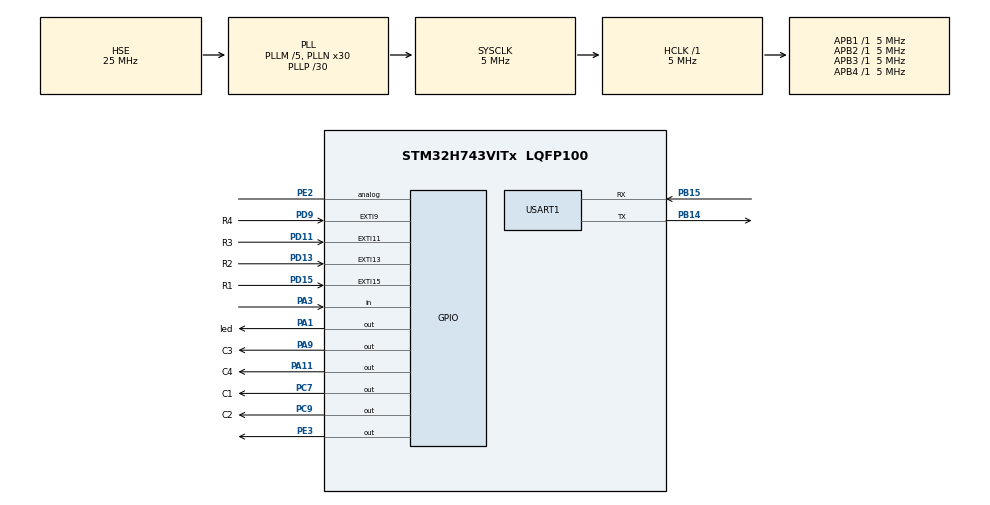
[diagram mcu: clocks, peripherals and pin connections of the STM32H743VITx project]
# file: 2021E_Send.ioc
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CORTEX_M7.AccessPermission-Cortex_Memory_Protection_Unit_Region0_Settings=MPU_REGION_FULL_ACCESS
CORTEX_M7.AccessPermission-Cortex_Memory_Protection_Unit_Region1_Settings=MPU_REGION_FULL_ACCESS
CORTEX_M7.AccessPermission-Cortex_Memory_Protection_Unit_Region2_Settings=MPU_REGION_FULL_ACCESS
CORTEX_M7.AccessPermission-Cortex_Memory_Protection_Unit_Region3_Settings=MPU_REGION_FULL_ACCESS
CORTEX_M7.AccessPermission-Cortex_Memory_Protection_Unit_Region4_Settings=MPU_REGION_FULL_ACCESS
CORTEX_M7.AccessPermission_S-Cortex_Memory_Protection_Unit_Region1_Settings_S=MPU_REGION_FULL_ACCESS
CORTEX_M7.AccessPermission_S-Cortex_Memory_Protection_Unit_Region2_Settings_S=MPU_REGION_FULL_ACCESS
CORTEX_M7.AccessPermission_Spec=MPU_REGION_FULL_ACCESS
CORTEX_M7.BaseAddress-Cortex_Memory_Protection_Unit_Region0_Settings=0x24000000
CORTEX_M7.BaseAddress-Cortex_Memory_Protection_Unit_Region1_Settings=0x30000000
CORTEX_M7.BaseAddress-Cortex_Memory_Protection_Unit_Region2_Settings=0x30020000
CORTEX_M7.BaseAddress-Cortex_Memory_Protection_Unit_Region3_Settings=0x30040000
CORTEX_M7.BaseAddress-Cortex_Memory_Protection_Unit_Region4_Settings=0x38000000
CORTEX_M7.BaseAddress_S-Cortex_Memory_Protection_Unit_Region1_Settings_S=0x30000000
CORTEX_M7.BaseAddress_S-Cortex_Memory_Protection_Unit_Region2_Settings_S=0x30020000
CORTEX_M7.BaseAddress_Spec=0x24000000
CORTEX_M7.CPU_DCache=Enabled
CORTEX_M7.CPU_ICache=Enabled
CORTEX_M7.DisableExec_S-Cortex_Memory_Protection_Unit_Region1_Settings_S=MPU_INSTRUCTION_ACCESS_ENABLE
CORTEX_M7.DisableExec_S-Cortex_Memory_Protection_Unit_Region2_Settings_S=MPU_INSTRUCTION_ACCESS_ENABLE
CORTEX_M7.DisableExec_Spec=MPU_INSTRUCTION_ACCESS_ENABLE
CORTEX_M7.Enable-Cortex_Memory_Protection_Unit_Region0_Settings=MPU_REGION_ENABLE
CORTEX_M7.Enable-Cortex_Memory_Protection_Unit_Region1_Settings=MPU_REGION_ENABLE
CORTEX_M7.Enable-Cortex_Memory_Protection_Unit_Region2_Settings=MPU_REGION_ENABLE
CORTEX_M7.Enable-Cortex_Memory_Protection_Unit_Region3_Settings=MPU_REGION_ENABLE
CORTEX_M7.Enable-Cortex_Memory_Protection_Unit_Region4_Settings=MPU_REGION_ENABLE
CORTEX_M7.Enable_S-Cortex_Memory_Protection_Unit_Region1_Settings_S=MPU_REGION_ENABLE
CORTEX_M7.Enable_S-Cortex_Memory_Protection_Unit_Region2_Settings_S=MPU_REGION_ENABLE
CORTEX_M7.IsBufferable-Cortex_Memory_Protection_Unit_Region0_Settings=MPU_ACCESS_BUFFERABLE
CORTEX_M7.IsBufferable_S-Cortex_Memory_Protection_Unit_Region1_Settings_S=MPU_ACCESS_NOT_BUFFERABLE
CORTEX_M7.IsBufferable_Spec=MPU_ACCESS_BUFFERABLE
CORTEX_M7.IsCacheable-Cortex_Memory_Protection_Unit_Region0_Settings=MPU_ACCESS_CACHEABLE
CORTEX_M7.IsCacheable_S-Cortex_Memory_Protection_Unit_Region1_Settings_S=MPU_ACCESS_NOT_CACHEABLE
CORTEX_M7.IsCacheable_Spec=MPU_ACCESS_CACHEABLE
CORTEX_M7.IsShareable_Spec=MPU_ACCESS_NOT_SHAREABLE
CORTEX_M7.MPU_Control=MPU_PRIVILEGED_DEFAULT
CORTEX_M7.Size-Cortex_Memory_Protection_Unit_Region0_Settings=MPU_REGION_SIZE_512KB
CORTEX_M7.Size-Cortex_Memory_Protection_Unit_Region1_Settings=MPU_REGION_SIZE_128KB
CORTEX_M7.Size-Cortex_Memory_Protection_Unit_Region2_Settings=MPU_REGION_SIZE_128KB
CORTEX_M7.Size-Cortex_Memory_Protection_Unit_Region3_Settings=MPU_REGION_SIZE_32KB
CORTEX_M7.Size-Cortex_Memory_Protection_Unit_Region4_Settings=MPU_REGION_SIZE_64KB
CORTEX_M7.Size_S-Cortex_Memory_Protection_Unit_Region1_Settings_S=MPU_REGION_SIZE_128KB
CORTEX_M7.Size_S-Cortex_Memory_Protection_Unit_Region2_Settings_S=MPU_REGION_SIZE_128KB
CORTEX_M7.Size_Spec=MPU_REGION_SIZE_512KB
CORTEX_M7.SubRegionDisable_Spec=0x0
CORTEX_M7.TypeExtField-Cortex_Memory_Protection_Unit_Region0_Settings=MPU_TEX_LEVEL1
CORTEX_M7.TypeExtField-Cortex_Memory_Protection_Unit_Region1_Settings=MPU_TEX_LEVEL1
CORTEX_M7.TypeExtField-Cortex_Memory_Protection_Unit_Region2_Settings=MPU_TEX_LEVEL1
CORTEX_M7.TypeExtField-Cortex_Memory_Protection_Unit_Region3_Settings=MPU_TEX_LEVEL1
CORTEX_M7.TypeExtField-Cortex_Memory_Protection_Unit_Region4_Settings=MPU_TEX_LEVEL1
CORTEX_M7.TypeExtField_S-Cortex_Memory_Protection_Unit_Region1_Settings_S=MPU_TEX_LEVEL1
CORTEX_M7.TypeExtField_S-Cortex_Memory_Protection_Unit_Region2_Settings_S=MPU_TEX_LEVEL1
CORTEX_M7.TypeExtField_Spec=MPU_TEX_LEVEL1
Mcu.Family=STM32H7
Mcu.Name=STM32H743VITx
Mcu.Package=LQFP100
NVIC.EXTI15_10_IRQn=true\:0\:0\:false\:false\:true\:true\:true\:true
NVIC.EXTI9_5_IRQn=true\:0\:0\:false\:false\:true\:true\:true\:true
NVIC.PriorityGroup=NVIC_PRIORITYGROUP_4
NVIC.TIM16_IRQn=true\:0\:0\:false\:false\:true\:true\:true\:true
NVIC.TIM17_IRQn=true\:2\:0\:true\:false\:true\:true\:true\:true
PA1.GPIO_Label=led
PA1.PinState=GPIO_PIN_SET
PA1.Signal=GPIO_Output
PA11.GPIO_Label=C4
PA11.GPIO_PuPd=GPIO_PULLUP
PA11.PinState=GPIO_PIN_SET
PA11.Signal=GPIO_Output
PA13\ (JTMS/SWDIO).Mode=Serial_Wire
PA13\ (JTMS/SWDIO).Signal=DEBUG_JTMS-SWDIO
PA14\ (JTCK/SWCLK).Mode=Serial_Wire
PA14\ (JTCK/SWCLK).Signal=DEBUG_JTCK-SWCLK
PA3.GPIO_PuPd=GPIO_PULLDOWN
PA3.Signal=GPIO_Input
PA9.GPIO_Label=C3
PA9.GPIO_PuPd=GPIO_PULLUP
PA9.PinState=GPIO_PIN_SET
PA9.Signal=GPIO_Output
PB14.Mode=Asynchronous
PB14.Signal=USART1_TX
PB15.Mode=Asynchronous
PB15.Signal=USART1_RX
PC7.GPIO_Label=C1
PC7.GPIO_PuPd=GPIO_PULLUP
PC7.PinState=GPIO_PIN_SET
PC7.Signal=GPIO_Output
PC9.GPIO_Label=C2
PC9.GPIO_PuPd=GPIO_PULLUP
PC9.PinState=GPIO_PIN_SET
PC9.Signal=GPIO_Output
PD11.GPIO_Label=R3
PD11.GPIO_PuPd=GPIO_PULLDOWN
PD11.Signal=GPXTI11
PD13.GPIO_Label=R2
PD13.GPIO_PuPd=GPIO_PULLDOWN
PD13.Signal=GPXTI13
PD15.GPIO_Label=R1
PD15.GPIO_PuPd=GPIO_PULLDOWN
PD15.Signal=GPXTI15
PD9.GPIO_Label=R4
PD9.GPIO_PuPd=GPIO_PULLDOWN
PD9.Signal=GPXTI9
PE2.Signal=GPIO_Analog
PE3.GPIO_PuPd=GPIO_PULLUP
PE3.GPIO_Speed=GPIO_SPEED_FREQ_VERY_HIGH
PE3.PinState=GPIO_PIN_SET
PE3.Signal=GPIO_Output
PH0-OSC_IN\ (PH0).Mode=HSE-External-Oscillator
PH0-OSC_IN\ (PH0).Signal=RCC_OSC_IN
PH1-OSC_OUT\ (PH1).Mode=HSE-External-Oscillator
PH1-OSC_OUT\ (PH1).Signal=RCC_OSC_OUT
ProjectManager.HeapSize=0x200
ProjectManager.StackSize=0x400
ProjectManager.TargetToolchain=MDK-ARM V5.32
RCC.ADCFreq_Value=50390625
RCC.APB1Freq_Value=5000000
RCC.APB2Freq_Value=5000000
RCC.APB3Freq_Value=5000000
RCC.APB4Freq_Value=5000000
RCC.CortexFreq_Value=5000000
RCC.DIVM1=5
RCC.DIVN1=30
RCC.DIVP1=30
RCC.HCLKFreq_Value=5000000
RCC.HSE_Timout=5000
RCC.PLLSourceVirtual=RCC_PLLSOURCE_HSE
RCC.ProductRev=revV
RCC.SYSCLKFreq_VALUE=5000000
RCC.SYSCLKSource=RCC_SYSCLKSOURCE_PLLCLK
RCC.USBFreq_Value=75000000
TIM16.AutoReloadPreload=TIM_AUTORELOAD_PRELOAD_ENABLE
TIM16.Period=999
TIM16.Prescaler=51
TIM17.AutoReloadPreload=TIM_AUTORELOAD_PRELOAD_ENABLE
TIM17.Period=1999
TIM17.Prescaler=4
TIM7.Prescaler=4
USART1.VirtualMode-Asynchronous=VM_ASYNC
VP_TIM16_VS_ClockSourceINT.Mode=Enable_Timer
VP_TIM17_VS_ClockSourceINT.Mode=Enable_Timer
VP_TIM7_VS_ClockSourceINT.Mode=Enable_Timer
board=custom

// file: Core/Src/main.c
/* USER CODE BEGIN Header */
/**
  ******************************************************************************
  * @file           : main.c
  * @brief          : Main program body
  ******************************************************************************
  * @attention
  *
  * Copyright (c) 2022 STMicroelectronics.
  * All rights reserved.
  *
  * This software is licensed under terms that can be found in the LICENSE file
  * in the root directory of this software component.
  * If no LICENSE file comes with this software, it is provided AS-IS.
  *
  ******************************************************************************
  */
/* USER CODE END Header */
#include "main.h"
#include "tim.h"
#include "usart.h"
#include "gpio.h"

/* USER CODE BEGIN Includes */
uint16_t key_flag = 0;

uint16_t shumaguan_flag = 0;
uint16_t temptimer0 = 0;
uint16_t temptimer1 = 0;

uint32_t sendata 				= 0;
uint16_t sendtwo[30] 		= {0};
uint32_t AJcode[4] 			= {0};
uint32_t AJ_ready = 0;

uint32_t Data_send_flag = 0;

/* USER CODE END Includes */

void SystemClock_Config(void);
static void MPU_Config(void);

int main(void)
{

  /* MPU Configuration--------------------------------------------------------*/
  MPU_Config();

  /* Enable I-Cache---------------------------------------------------------*/
  SCB_EnableICache();

  /* Enable D-Cache---------------------------------------------------------*/
  SCB_EnableDCache();

  /* MCU Configuration--------------------------------------------------------*/

  /* Reset of all peripherals, Initializes the Flash interface and the Systick. */
  HAL_Init();

  /* Configure the system clock */
  SystemClock_Config();

  /* Initialize all configured peripherals */
  MX_GPIO_Init();
  MX_TIM7_Init();
  MX_USART1_UART_Init();
  MX_TIM16_Init();
  MX_TIM17_Init();
  /* USER CODE BEGIN 2 */
	HC595_Init();

	Init_AD9959();
	uint32_t freq = 10000000;
	Write_frequence(2,12000);
	Write_frequence(3,25000000);
  HAL_TIM_Base_Start_IT(&htim16);
	int key_value = 0;
  int send_temp = 0;
	for(send_temp = 0;send_temp < 15;send_temp += 1)
	{
		sendtwo[send_temp] = 1;
	}
	HAL_GPIO_WritePin(led_GPIO_Port,led_Pin,key_value);

  /* USER CODE END 2 */

  /* Infinite loop */
  /* USER CODE BEGIN WHILE */
  while (1)
  {
		if(key_flag)
		{
			key_value = scan_key();
			if(key_value > 0 && key_value < 11){
				Data_send_flag = 0;
				if(shumaguan_flag == 5)
				{
					shumaguan_flag = 0;
				}
        if(shumaguan_flag < 4)
        {
          if(key_value == 10)
          {
            key_value = 0;
          }
          AJcode[shumaguan_flag] = key_value;
          LED8_Display(3-shumaguan_flag,AJcode[shumaguan_flag]);
        }
				// printf("%d\n",key_value);
        AJ_ready = 0;
        shumaguan_flag += 1;
        if(shumaguan_flag == 4)
        {
          shumaguan_flag = 5;

          AJ_ready = 1;
          sendata = AJcode[0]*1000+AJcode[1]*100+AJcode[2]*10+AJcode[3]*1;
//          printf("%d\n",sendata);
          for(send_temp = 14;send_temp > 0;send_temp -= 1)
          {
            sendtwo[send_temp] = sendata&0x0001;
            sendata = sendata >> 1;
          }
          for(send_temp = 0;send_temp < 15;send_temp += 1)
          {
//            printf("%d",sendtwo[send_temp]);
          }
//          printf("\n\n\n");
//          printf("%d\n",sendata);
          // sendtwo[0]

        }
			}
      //�??始传�??+AJcode[1]*100+AJcode[2]*10+AJcode[3]*1
      if(key_value == 15)
      {
        Data_send_flag = 0;
        shumaguan_flag = 0;
        LED8_Display(3-shumaguan_flag,15);
      }
      //启动发射
      if(key_value == 16)
      {
        if(AJ_ready == 1)
        {
          Data_send_flag = 1;
					HAL_TIM_Base_Start_IT(&htim17);
					LED8_Display(3,16);
        }
      }

			//改变载波频率
      if(key_value == 11)
      {
					Write_frequence(3,20000000);
      }
			//改变载波频率
      if(key_value == 12)
      {
					Write_frequence(3,25000000);
      }
			//改变载波频率
      if(key_value == 13)
      {
					Write_frequence(3,30000000);
      }
			//不发�??
      if(key_value == 14)
      {
				for(send_temp = 0;send_temp < 15;send_temp += 1)
				{
					sendtwo[send_temp] = 1;
				}
      }
      key_value = 1;
			HAL_GPIO_WritePin(led_GPIO_Port,led_Pin,key_value);
			Keyboard_Row_Ext();

			key_flag  = 0;
		}

    /* USER CODE END WHILE */

  }
}

void SystemClock_Config(void)
{
  RCC_OscInitTypeDef RCC_OscInitStruct = {0};
  RCC_ClkInitTypeDef RCC_ClkInitStruct = {0};

  /** Supply configuration update enable
  */
  HAL_PWREx_ConfigSupply(PWR_LDO_SUPPLY);

  /** Configure the main internal regulator output voltage
  */
  __HAL_PWR_VOLTAGESCALING_CONFIG(PWR_REGULATOR_VOLTAGE_SCALE3);

  while(!__HAL_PWR_GET_FLAG(PWR_FLAG_VOSRDY)) {}

  /** Initializes the RCC Oscillators according to the specified parameters
  * in the RCC_OscInitTypeDef structure.
  */
  RCC_OscInitStruct.OscillatorType = RCC_OSCILLATORTYPE_HSE;
  RCC_OscInitStruct.HSEState = RCC_HSE_ON;
  RCC_OscInitStruct.PLL.PLLState = RCC_PLL_ON;
  RCC_OscInitStruct.PLL.PLLSource = RCC_PLLSOURCE_HSE;
  RCC_OscInitStruct.PLL.PLLM = 5;
  RCC_OscInitStruct.PLL.PLLN = 30;
  RCC_OscInitStruct.PLL.PLLP = 30;
  RCC_OscInitStruct.PLL.PLLQ = 2;
  RCC_OscInitStruct.PLL.PLLR = 2;
  RCC_OscInitStruct.PLL.PLLRGE = RCC_PLL1VCIRANGE_2;
  RCC_OscInitStruct.PLL.PLLVCOSEL = RCC_PLL1VCOMEDIUM;
  RCC_OscInitStruct.PLL.PLLFRACN = 0;
  if (HAL_RCC_OscConfig(&RCC_OscInitStruct) != HAL_OK)
  {
    Error_Handler();
  }

  /** Initializes the CPU, AHB and APB buses clocks
  */
  RCC_ClkInitStruct.ClockType = RCC_CLOCKTYPE_HCLK|RCC_CLOCKTYPE_SYSCLK
                              |RCC_CLOCKTYPE_PCLK1|RCC_CLOCKTYPE_PCLK2
                              |RCC_CLOCKTYPE_D3PCLK1|RCC_CLOCKTYPE_D1PCLK1;
  RCC_ClkInitStruct.SYSCLKSource = RCC_SYSCLKSOURCE_PLLCLK;
  RCC_ClkInitStruct.SYSCLKDivider = RCC_SYSCLK_DIV1;
  RCC_ClkInitStruct.AHBCLKDivider = RCC_HCLK_DIV1;
  RCC_ClkInitStruct.APB3CLKDivider = RCC_APB3_DIV1;
  RCC_ClkInitStruct.APB1CLKDivider = RCC_APB1_DIV1;
  RCC_ClkInitStruct.APB2CLKDivider = RCC_APB2_DIV1;
  RCC_ClkInitStruct.APB4CLKDivider = RCC_APB4_DIV1;

  if (HAL_RCC_ClockConfig(&RCC_ClkInitStruct, FLASH_LATENCY_0) != HAL_OK)
  {
    Error_Handler();
  }
}

/* MPU Configuration */

void MPU_Config(void)
{
  MPU_Region_InitTypeDef MPU_InitStruct = {0};

  /* Disables the MPU */
  HAL_MPU_Disable();

  /** Initializes and configures the Region and the memory to be protected
  */
  MPU_InitStruct.Enable = MPU_REGION_ENABLE;
  MPU_InitStruct.Number = MPU_REGION_NUMBER0;
  MPU_InitStruct.BaseAddress = 0x24000000;
  MPU_InitStruct.Size = MPU_REGION_SIZE_512KB;
  MPU_InitStruct.SubRegionDisable = 0x0;
  MPU_InitStruct.TypeExtField = MPU_TEX_LEVEL1;
  MPU_InitStruct.AccessPermission = MPU_REGION_FULL_ACCESS;
  MPU_InitStruct.DisableExec = MPU_INSTRUCTION_ACCESS_ENABLE;
  MPU_InitStruct.IsShareable = MPU_ACCESS_NOT_SHAREABLE;
  MPU_InitStruct.IsCacheable = MPU_ACCESS_CACHEABLE;
  MPU_InitStruct.IsBufferable = MPU_ACCESS_BUFFERABLE;

  HAL_MPU_ConfigRegion(&MPU_InitStruct);

  /** Initializes and configures the Region and the memory to be protected
  */
  MPU_InitStruct.Number = MPU_REGION_NUMBER1;
  MPU_InitStruct.BaseAddress = 0x30000000;
  MPU_InitStruct.Size = MPU_REGION_SIZE_128KB;
  MPU_InitStruct.IsCacheable = MPU_ACCESS_NOT_CACHEABLE;
  MPU_InitStruct.IsBufferable = MPU_ACCESS_NOT_BUFFERABLE;

  HAL_MPU_ConfigRegion(&MPU_InitStruct);

  /** Initializes and configures the Region and the memory to be protected
  */
  MPU_InitStruct.Number = MPU_REGION_NUMBER2;
  MPU_InitStruct.BaseAddress = 0x30020000;

  HAL_MPU_ConfigRegion(&MPU_InitStruct);

  /** Initializes and configures the Region and the memory to be protected
  */
  MPU_InitStruct.Number = MPU_REGION_NUMBER3;
  MPU_InitStruct.BaseAddress = 0x30040000;
  MPU_InitStruct.Size = MPU_REGION_SIZE_32KB;

  HAL_MPU_ConfigRegion(&MPU_InitStruct);

  /** Initializes and configures the Region and the memory to be protected
  */
  MPU_InitStruct.Number = MPU_REGION_NUMBER4;
  MPU_InitStruct.BaseAddress = 0x38000000;
  MPU_InitStruct.Size = MPU_REGION_SIZE_64KB;

  HAL_MPU_ConfigRegion(&MPU_InitStruct);
  /* Enables the MPU */
  HAL_MPU_Enable(MPU_PRIVILEGED_DEFAULT);

}

void Error_Handler(void)
{
  __disable_irq();
  while (1)
  {
  }
}
